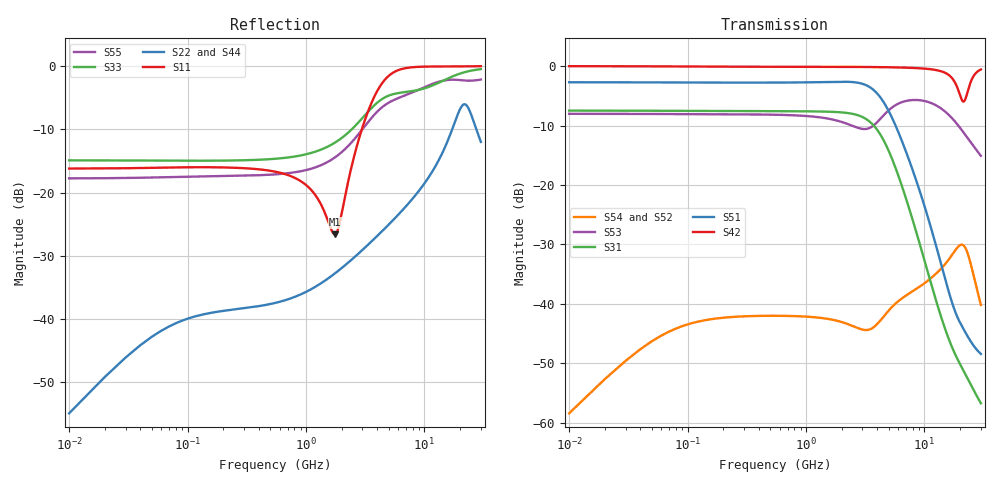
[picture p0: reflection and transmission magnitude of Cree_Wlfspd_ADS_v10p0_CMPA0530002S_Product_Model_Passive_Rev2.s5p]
! AWR Design Environment (10030) Mon Sep 14 15:29:14 2020
! Document = 'CMPA0530002S_Product_Model_Passive'
! nPorts: 5, nXvals: 571
! Port[1] = Gate Pack
! Port[2] = Drain Pack
! Port[3] = GBias Pack
! Port[4] = Drain Model
! Port[5] = Gate Model
# MHz S DB R 50
!Freq DBS11 AngS11 DBS12 AngS12 DBS13 AngS13 DBS14 AngS14
!	DBS15 AngS15
!	DBS21 AngS21 DBS22 AngS22 DBS23 AngS23 DBS24 AngS24
!	DBS25 AngS25
!	DBS31 AngS31 DBS32 AngS32 DBS33 AngS33 DBS34 AngS34
!	DBS35 AngS35
!	DBS41 AngS41 DBS42 AngS42 DBS43 AngS43 DBS44 AngS44
!	DBS45 AngS45
!	DBS51 AngS51 DBS52 AngS52 DBS53 AngS53 DBS54 AngS54
!	DBS55 AngS55
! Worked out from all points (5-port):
!   570 points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, 10 MHz to 30 GHz, reference 50 ohm
!   strongest paths, dB at 10 MHz, 1.43 GHz, 2.86 GHz, 15.8 GHz, 30 GHz:
!     S42: 0.0, -0.1, -0.1, -1.4, -0.6
!     S51: -2.7, -2.7, -2.9, -37.5, -48.4
!     S31: -7.5, -7.6, -8.4, -45.5, -56.7
!     S53: -8.0, -8.7, -10.5, -8.1, -15.1
!     S54: -58.4, -42.4, -44.2, -32.7, -40.2
!     S52: -58.4, -42.4, -44.2, -32.7, -40.2
!   lowest |S11| = -26.6 dB at 1.75 GHz (marker M1), VSWR 1.10, Z = 54.2 + j2.44 ohm
!   |S11| at or under -10 dB: start of sweep to 2.961 GHz
